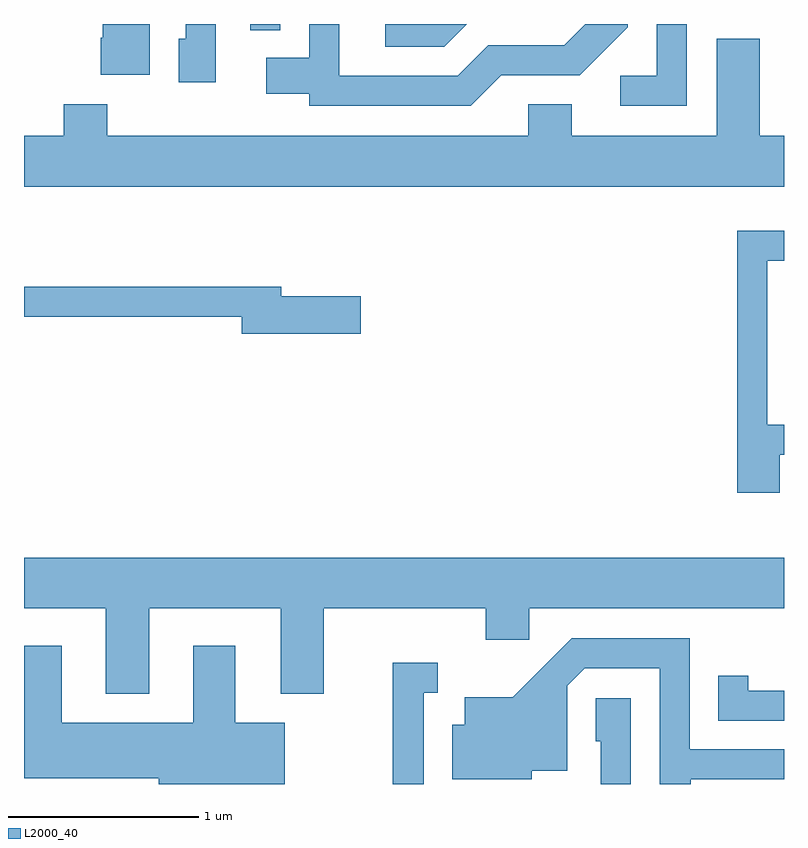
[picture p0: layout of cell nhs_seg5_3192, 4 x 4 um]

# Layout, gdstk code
import gdstk
lib = gdstk.Library(unit=1e-6, precision=1e-09)
def R(c, l, rs):  # rectangles x0, y0, x1, y1
    for r in rs: c.add(gdstk.rectangle(r[:2], r[2:], *l))
def P(c, l, *ps):  # polygons
    for p in ps: c.add(gdstk.Polygon(p, *l))
L2000_40 = (2000, 40)

nhs_seg5_3192 = lib.new_cell('nhs_seg5_3192')
R(nhs_seg5_3192, L2000_40, [(280.801,1482.038,280.959,1482.072)])
P(nhs_seg5_3192, L2000_40, [(280.274,1482.072),(280.026,1482.072),(280.026,1482),(280.016,1482),(280.016,1481.806),(280.274,1481.806)],
  [(280.619,1482.072),(280.461,1482.072),(280.461,1481.994),(280.426,1481.994),(280.426,1481.766),(280.619,1481.766)],
  [(283.099,1482.072),(282.941,1482.072),(282.941,1481.799),(282.748,1481.799),(282.748,1481.641),(283.099,1481.641)],
  [(281.942,1482.072),(281.513,1482.072),(281.513,1481.951),(281.822,1481.951)],
  [(282.122,1481.801),(282.537,1481.801),(282.789,1482.054),(282.789,1482.072),(282.566,1482.072),(282.454,1481.959),(282.054,1481.959),(281.894,1481.799),(281.269,1481.799),(281.269,1482.072),(281.111,1482.072),(281.111,1481.894),(280.886,1481.894),(280.886,1481.706),(281.111,1481.706),(281.111,1481.641),(281.962,1481.641)],
  [(283.611,1481.484),(283.484,1481.484),(283.484,1481.994),(283.256,1481.994),(283.256,1481.484),(282.494,1481.484),(282.494,1481.649),(282.266,1481.649),(282.266,1481.484),(280.049,1481.484),(280.049,1481.649),(279.821,1481.649),(279.821,1481.484),(279.611,1481.484),(279.611,1481.216),(283.611,1481.216)],
  [(283.589,1479.806),(283.611,1479.806),(283.611,1479.964),(283.524,1479.964),(283.524,1480.826),(283.611,1480.826),(283.611,1480.984),(283.366,1480.984),(283.366,1479.606),(283.589,1479.606)],
  [(281.384,1480.639),(280.964,1480.639),(280.964,1480.689),(279.611,1480.689),(279.611,1480.531),(280.756,1480.531),(280.756,1480.441),(281.384,1480.441)],
  [(280.269,1478.996),(280.961,1478.996),(280.961,1478.546),(281.189,1478.546),(281.189,1478.996),(282.041,1478.996),(282.041,1478.831),(282.269,1478.831),(282.269,1478.996),(283.611,1478.996),(283.611,1479.264),(279.611,1479.264),(279.611,1478.996),(280.041,1478.996),(280.041,1478.546),(280.269,1478.546)],
  [(283.119,1478.096),(283.611,1478.096),(283.611,1478.254),(283.114,1478.254),(283.114,1478.839),(282.494,1478.839),(282.184,1478.529),(281.931,1478.529),(281.931,1478.384),(281.866,1478.384),(281.866,1478.096),(282.284,1478.096),(282.284,1478.141),(282.469,1478.141),(282.469,1478.589),(282.562,1478.681),(282.956,1478.681),(282.956,1478.072),(283.119,1478.072)],
  [(280.984,1478.394),(280.724,1478.394),(280.724,1478.799),(280.501,1478.799),(280.501,1478.394),(279.809,1478.394),(279.809,1478.799),(279.611,1478.799),(279.611,1478.101),(280.321,1478.101),(280.321,1478.072),(280.984,1478.072)],
  [(281.714,1478.551),(281.788,1478.551),(281.788,1478.709),(281.551,1478.709),(281.551,1478.072),(281.714,1478.072)],
  [(283.611,1478.564),(283.424,1478.564),(283.424,1478.643),(283.266,1478.643),(283.266,1478.406),(283.611,1478.406)],
  [(282.804,1478.524),(282.621,1478.524),(282.621,1478.296),(282.646,1478.296),(282.646,1478.072),(282.804,1478.072)])

lib.write_gds('nhs_seg5_3192.gds')
